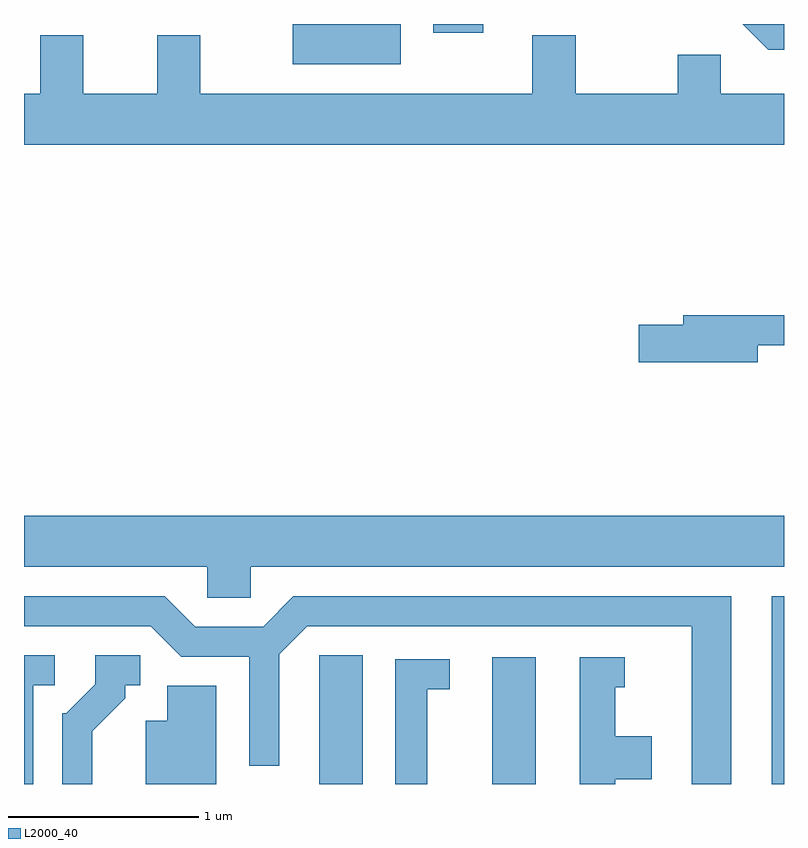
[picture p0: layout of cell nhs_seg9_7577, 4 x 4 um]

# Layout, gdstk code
import gdstk
lib = gdstk.Library(unit=1e-6, precision=1e-09)
def R(c, l, rs):  # rectangles x0, y0, x1, y1
    for r in rs: c.add(gdstk.rectangle(r[:2], r[2:], *l))
def P(c, l, *ps):  # polygons
    for p in ps: c.add(gdstk.Polygon(p, *l))
L2000_40 = (2000, 40)

nhs_seg9_7577 = lib.new_cell('nhs_seg9_7577')
R(nhs_seg9_7577, L2000_40, [(411.166,2008.432,411.394,2009.109), (412.076,2008.432,412.304,2009.099), (413.546,2008.432,413.611,2009.419), (411.026,2012.221,411.594,2012.432), (411.766,2012.386,412.029,2012.432)])
P(nhs_seg9_7577, L2000_40, [(413.611,2012.432),(413.393,2012.432),(413.529,2012.296),(413.611,2012.296)],
  [(413.611,2012.064),(413.279,2012.064),(413.279,2012.269),(413.051,2012.269),(413.051,2012.064),(412.514,2012.064),(412.514,2012.374),(412.286,2012.374),(412.286,2012.064),(410.539,2012.064),(410.539,2012.374),(410.311,2012.374),(410.311,2012.064),(409.924,2012.064),(409.924,2012.374),(409.696,2012.374),(409.696,2012.064),(409.611,2012.064),(409.611,2011.796),(413.611,2011.796)],
  [(413.474,2010.741),(413.611,2010.741),(413.611,2010.899),(413.081,2010.899),(413.081,2010.849),(412.846,2010.849),(412.846,2010.651),(413.474,2010.651)],
  [(410.804,2009.576),(413.611,2009.576),(413.611,2009.844),(409.611,2009.844),(409.611,2009.576),(410.576,2009.576),(410.576,2009.411),(410.804,2009.411)],
  [(413.334,2009.419),(411.029,2009.419),(410.869,2009.259),(410.512,2009.259),(410.352,2009.419),(409.611,2009.419),(409.611,2009.261),(410.279,2009.261),(410.439,2009.101),(410.796,2009.101),(410.796,2008.528),(410.954,2008.528),(410.954,2009.114),(411.102,2009.261),(413.126,2009.261),(413.126,2008.432),(413.334,2008.432)],
  [(409.969,2008.709),(410.144,2008.884),(410.144,2008.951),(410.223,2008.951),(410.223,2009.109),(409.986,2009.109),(409.986,2008.957),(409.834,2008.804),(409.811,2008.804),(409.811,2008.432),(409.969,2008.432)],
  [(409.659,2008.951),(409.773,2008.951),(409.773,2009.109),(409.611,2009.109),(409.611,2008.432),(409.659,2008.432)],
  [(412.724,2008.456),(412.914,2008.456),(412.914,2008.684),(412.724,2008.684),(412.724,2008.941),(412.773,2008.941),(412.773,2009.099),(412.536,2009.099),(412.536,2008.432),(412.724,2008.432)],
  [(411.734,2008.931),(411.853,2008.931),(411.853,2009.089),(411.566,2009.089),(411.566,2008.432),(411.734,2008.432)],
  [(410.624,2008.949),(410.366,2008.949),(410.366,2008.764),(410.251,2008.764),(410.251,2008.432),(410.624,2008.432)])

lib.write_gds('nhs_seg9_7577.gds')
